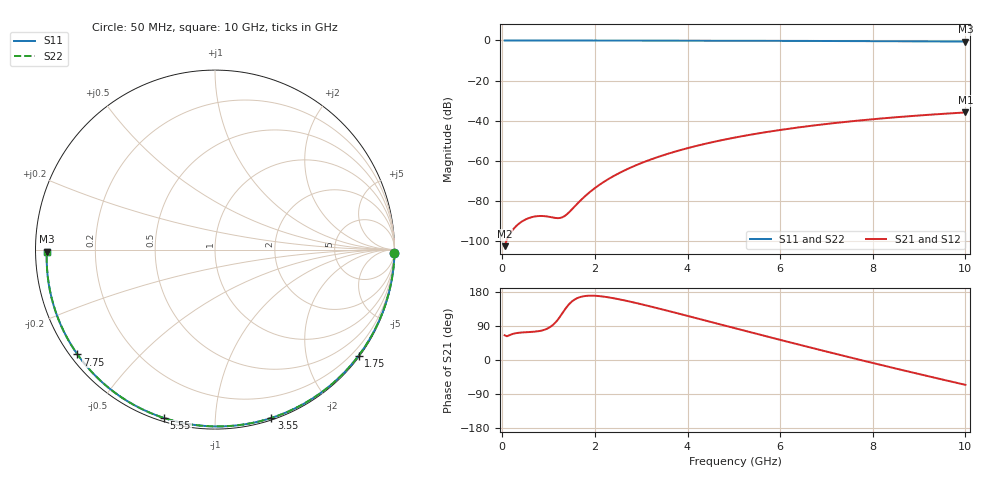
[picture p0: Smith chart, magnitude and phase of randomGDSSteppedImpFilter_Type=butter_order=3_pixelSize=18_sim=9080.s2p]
! freq	dB(S11)	phase(S11)	dB(S12)	phase(S12)
!  dB(S21)	phase(S21)	dB(S22)	phase(S22)
!S-par simulation data
#  GHz  S  DB  R 50
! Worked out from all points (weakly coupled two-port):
!   200 points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, 50 MHz to 10 GHz, reference 50 ohm
!   highest |S21| = -35.84 dB at 10 GHz (marker M1); lowest = -102.4 dB at 50 MHz (marker M2)
!   lowest |S11| = -0.6 dB at 10 GHz (marker M3), VSWR 30.91, Z = 1.62 - j0.301 ohm
!   |S11| at or under -10 dB: nowhere
!   |S22| runs from -0.6 to 0.0 dB; largest |S21 - S12| = 0
!   S11 on the Smith chart (normalised r, x): 50 MHz: open; 1.75 GHz: 0.03, -3.04; 3.55 GHz: 0.02, -1.39; 5.55 GHz: 0.02, -0.74; 7.75 GHz: 0.02, -0.34; 10 GHz: 0.03, -0.01
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0.05  -0.00 -1.1  -102.40 65.2  -102.40 65.2  -0.00 -1.1
0.4  -0.01 -8.5  -90.50 72.5  -90.50 72.5  -0.01 -8.5
0.8  -0.02 -16.9  -87.38 76.4  -87.38 76.4  -0.02 -16.9
1.2  -0.03 -25.2  -88.45 106.6  -88.45 106.6  -0.03 -25.2
1.65  -0.04 -34.4  -80.55 164.8  -80.55 164.8  -0.04 -34.4
1.7  -0.04 -35.5  -79.40 166.8  -79.40 166.8  -0.04 -35.5
1.75  -0.05 -36.5  -78.30 168.1  -78.30 168.1  -0.05 -36.5
2.05  -0.05 -42.5  -72.63 169.1  -72.63 169.1  -0.05 -42.5
2.25  -0.06 -46.5  -69.56 166.2  -69.56 166.2  -0.06 -46.5
2.45  -0.06 -50.5  -66.91 162.0  -66.91 162.0  -0.06 -50.5
2.9  -0.08 -59.2  -62.00 150.1  -62.00 150.1  -0.08 -59.2
3.4  -0.09 -68.7  -57.71 135.2  -57.71 135.2  -0.09 -68.7
3.55  -0.10 -71.5  -56.59 130.6  -56.59 130.6  -0.10 -71.5
4.3  -0.12 -85.2  -51.88 106.9  -51.88 106.9  -0.12 -85.2
5.05  -0.15 -98.4  -48.21 83.1  -48.21 83.1  -0.15 -98.4
5.55  -0.17 -106.9  -46.17 67.3  -46.17 67.3  -0.17 -106.9
6.1  -0.20 -116.0  -44.23 50.0  -44.23 50.0  -0.20 -116.0
6.7  -0.24 -125.8  -42.39 31.5  -42.39 31.5  -0.24 -125.8
7.75  -0.32 -142.7  -39.75 -0.4  -39.75 -0.4  -0.32 -142.7
8.35  -0.38 -152.3  -38.51 -18.2  -38.51 -18.2  -0.38 -152.3
9.2  -0.47 -166.0  -37.01 -42.9  -37.01 -42.9  -0.47 -166.0
10  -0.56 -179.3  -35.84 -65.5  -35.84 -65.5  -0.56 -179.3
